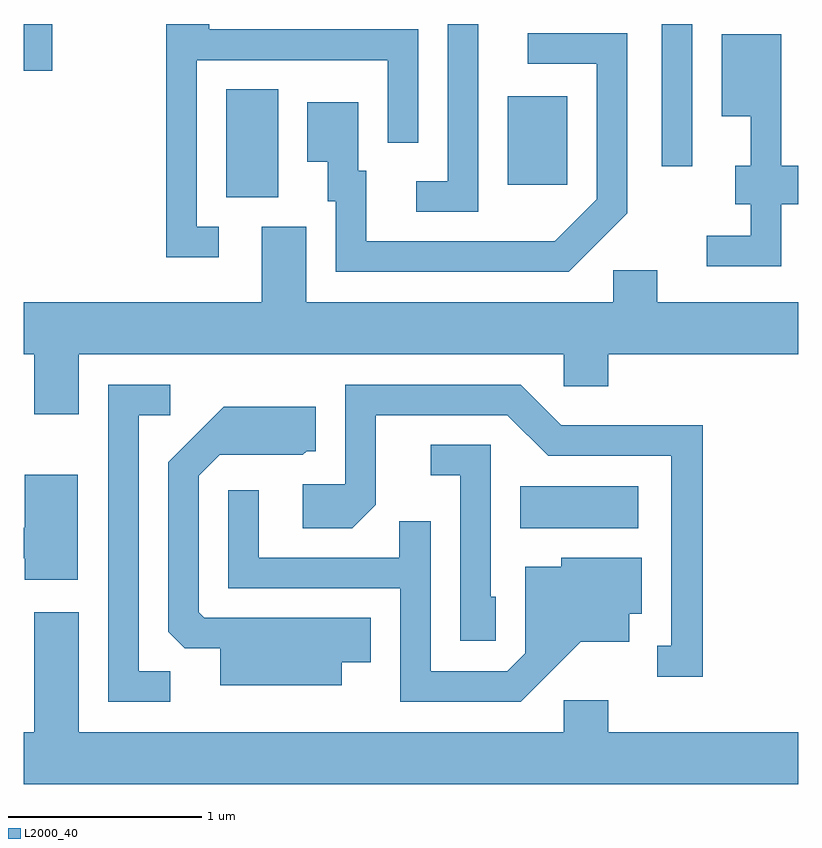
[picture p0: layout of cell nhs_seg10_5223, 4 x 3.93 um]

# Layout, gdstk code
import gdstk
lib = gdstk.Library(unit=1e-6, precision=1e-09)
def R(c, l, rs):  # rectangles x0, y0, x1, y1
    for r in rs: c.add(gdstk.rectangle(r[:2], r[2:], *l))
def P(c, l, *ps):  # polygons
    for p in ps: c.add(gdstk.Polygon(p, *l))
L2000_40 = (2000, 40)

nhs_seg10_5223 = lib.new_cell('nhs_seg10_5223')
R(nhs_seg10_5223, L2000_40, [(342.176,2101.916,342.784,2102.134), (340.656,2103.626,340.924,2104.184), (342.111,2103.691,342.419,2104.149), (342.906,2103.788,343.064,2104.522), (339.611,2104.281,339.759,2104.522)])
P(nhs_seg10_5223, L2000_40, [(341.959,2104.522),(341.801,2104.522),(341.801,2103.709),(341.638,2103.709),(341.638,2103.551),(341.959,2103.551)],
  [(340.618,2103.474),(340.504,2103.474),(340.504,2104.336),(341.491,2104.336),(341.491,2103.908),(341.649,2103.908),(341.649,2104.494),(340.569,2104.494),(340.569,2104.522),(340.346,2104.522),(340.346,2103.316),(340.618,2103.316)],
  [(342.729,2103.544),(342.729,2104.474),(342.213,2104.474),(342.213,2104.316),(342.571,2104.316),(342.571,2103.617),(342.354,2103.399),(341.379,2103.399),(341.379,2103.764),(341.339,2103.764),(341.339,2104.119),(341.076,2104.119),(341.076,2103.811),(341.181,2103.811),(341.181,2103.606),(341.221,2103.606),(341.221,2103.241),(342.427,2103.241)],
  [(343.524,2103.591),(343.611,2103.591),(343.611,2103.789),(343.524,2103.789),(343.524,2104.469),(343.216,2104.469),(343.216,2104.046),(343.366,2104.046),(343.366,2103.789),(343.286,2103.789),(343.286,2103.591),(343.366,2103.591),(343.366,2103.429),(343.138,2103.429),(343.138,2103.271),(343.524,2103.271)],
  [(339.894,2102.816),(342.401,2102.816),(342.401,2102.651),(342.629,2102.651),(342.629,2102.816),(343.611,2102.816),(343.611,2103.084),(342.884,2103.084),(342.884,2103.249),(342.656,2103.249),(342.656,2103.084),(341.069,2103.084),(341.069,2103.474),(340.841,2103.474),(340.841,2103.084),(339.611,2103.084),(339.611,2102.816),(339.666,2102.816),(339.666,2102.506),(339.894,2102.506)],
  [(343.119,2102.449),(342.387,2102.449),(342.177,2102.659),(341.271,2102.659),(341.271,2102.144),(341.051,2102.144),(341.051,2101.916),(341.307,2101.916),(341.429,2102.039),(341.429,2102.501),(342.109,2102.501),(342.319,2102.291),(342.956,2102.291),(342.956,2101.309),(342.883,2101.309),(342.883,2101.151),(343.119,2101.151)],
  [(340.368,2101.179),(340.204,2101.179),(340.204,2102.501),(340.368,2102.501),(340.368,2102.659),(340.046,2102.659),(340.046,2101.021),(340.368,2101.021)],
  [(341.254,2101.226),(341.404,2101.226),(341.404,2101.454),(340.542,2101.454),(340.514,2101.482),(340.514,2102.189),(340.622,2102.296),(341.052,2102.296),(341.072,2102.316),(341.119,2102.316),(341.119,2102.544),(340.644,2102.544),(340.356,2102.257),(340.356,2101.382),(340.442,2101.296),(340.626,2101.296),(340.626,2101.106),(341.254,2101.106)],
  [(342.049,2101.564),(342.024,2101.564),(342.024,2102.349),(341.713,2102.349),(341.713,2102.191),(341.866,2102.191),(341.866,2101.336),(342.049,2101.336)],
  [(339.889,2102.194),(339.616,2102.194),(339.616,2101.919),(339.611,2101.919),(339.611,2101.761),(339.616,2101.761),(339.616,2101.651),(339.889,2101.651)],
  [(342.487,2101.331),(342.739,2101.331),(342.739,2101.476),(342.804,2101.476),(342.804,2101.764),(342.386,2101.764),(342.386,2101.719),(342.201,2101.719),(342.201,2101.272),(342.109,2101.179),(341.714,2101.179),(341.714,2101.953),(341.551,2101.953),(341.551,2101.764),(340.824,2101.764),(340.824,2102.113),(340.666,2102.113),(340.666,2101.606),(341.556,2101.606),(341.556,2101.021),(342.177,2101.021)],
  [(339.666,2101.484),(339.666,2100.864),(339.611,2100.864),(339.611,2100.596),(343.611,2100.596),(343.611,2100.864),(342.629,2100.864),(342.629,2101.029),(342.401,2101.029),(342.401,2100.864),(339.894,2100.864),(339.894,2101.484)])

lib.write_gds('nhs_seg10_5223.gds')
